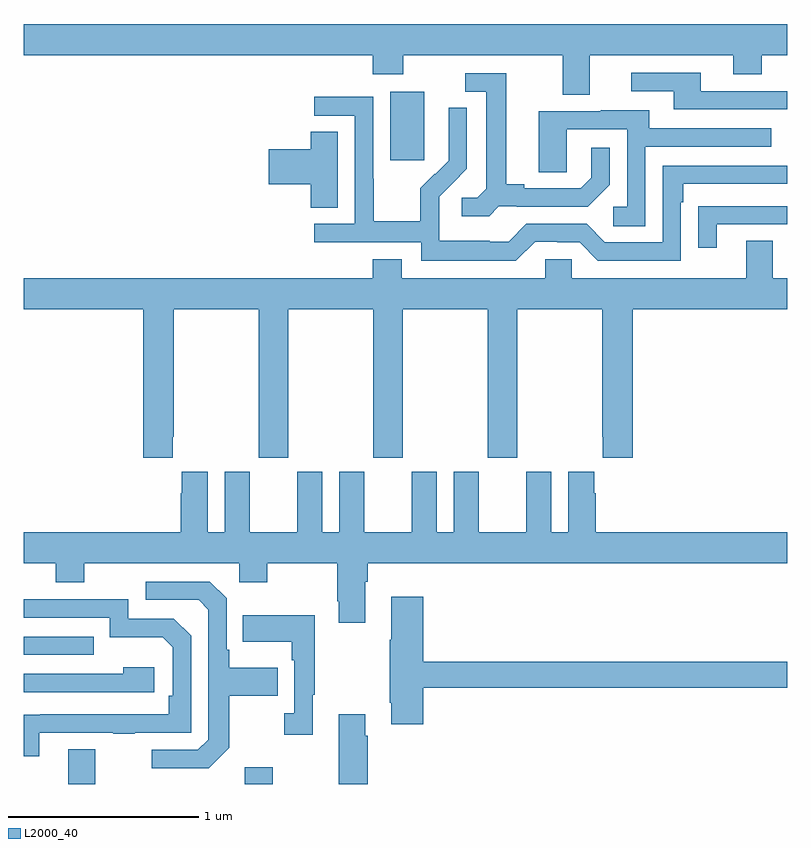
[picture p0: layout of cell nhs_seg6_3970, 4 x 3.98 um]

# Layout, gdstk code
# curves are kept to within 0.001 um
import gdstk
lib = gdstk.Library(unit=1e-6, precision=1e-09)
def R(c, l, rs):  # rectangles x0, y0, x1, y1
    for r in rs: c.add(gdstk.rectangle(r[:2], r[2:], *l))
def P(c, l, *ps):  # polygons
    for p in ps: c.add(gdstk.Polygon(p, *l))
L2000_40 = (2000, 40)

nhs_seg6_3970 = lib.new_cell('nhs_seg6_3970')
R(nhs_seg6_3970, L2000_40, [(345.233,959.5,345.373,959.683), (346.157,959.5,346.305,959.587), (345,960.177,345.365,960.273), (346.919,962.769,347.098,963.13)])
P(nhs_seg6_3970, L2000_40, [(347.965,963.32),(348.719,963.32),(348.719,963.221),(348.867,963.221),(348.867,963.32),(349,963.32),(349,963.484),(345,963.484),(345,963.32),(346.829,963.32),(346.829,963.221),(346.989,963.221),(346.989,963.32),(347.825,963.32),(347.825,963.112),(347.965,963.112)],
  [(349,963.132),(348.547,963.132),(348.547,963.228),(348.183,963.228),(348.183,963.132),(348.407,963.132),(348.407,963.036),(349,963.036)],
  [(347.49,962.529),(347.584,962.529),(347.584,962.526),(347.956,962.526),(348.072,962.642),(348.072,962.836),(347.975,962.836),(347.975,962.679),(347.918,962.622),(347.623,962.622),(347.623,962.645),(347.527,962.645),(347.527,963.225),(347.313,963.225),(347.313,963.129),(347.423,963.129),(347.423,962.621),(347.376,962.574),(347.295,962.574),(347.295,962.477),(347.438,962.477)],
  [(347.679,962.343),(347.795,962.343),(347.795,962.34),(347.913,962.34),(348.009,962.244),(348.444,962.244),(348.444,962.549),(348.457,962.549),(348.457,962.646),(349,962.646),(349,962.742),(348.348,962.742),(348.348,962.34),(348.045,962.34),(347.949,962.436),(347.634,962.436),(347.541,962.343),(347.441,962.343),(347.441,962.347),(347.178,962.347),(347.178,962.481),(347.176,962.481),(347.176,962.578),(347.322,962.726),(347.322,963.044),(347.226,963.044),(347.226,962.89),(347.228,962.89),(347.228,962.768),(347.157,962.697),(347.154,962.7),(347.077,962.623),(347.077,962.449),(346.833,962.449),(346.833,962.672),(346.83,962.672),(346.83,963.102),(346.521,963.102),(346.521,963.003),(346.734,963.003),(346.734,962.436),(346.521,962.436),(346.521,962.34),(347.082,962.34),(347.082,962.243),(347.579,962.243)],
  [(348.258,962.841),(348.917,962.841),(348.917,962.937),(348.277,962.937),(348.277,963.031),(348.023,963.031),(348.023,963.027),(347.699,963.027),(347.699,962.707),(347.844,962.707),(347.844,962.931),(348.162,962.931),(348.162,962.526),(348.09,962.526),(348.09,962.425),(348.258,962.425)],
  [(346.645,962.918),(346.502,962.918),(346.502,962.828),(346.284,962.828),(346.284,962.645),(346.502,962.645),(346.502,962.521),(346.645,962.521)],
  [(348.631,962.433),(349,962.433),(349,962.529),(348.637,962.529),(348.637,962.528),(348.535,962.528),(348.535,962.31),(348.631,962.31)],
  [(345.781,961.321),(345.786,961.321),(345.786,961.988),(346.231,961.988),(346.231,961.209),(346.386,961.209),(346.386,961.988),(346.831,961.988),(346.831,961.209),(346.986,961.209),(346.986,961.988),(347.431,961.988),(347.431,961.209),(347.586,961.209),(347.586,961.988),(348.031,961.988),(348.031,961.321),(348.035,961.321),(348.035,961.209),(348.191,961.209),(348.191,961.988),(349,961.988),(349,962.152),(348.925,962.152),(348.925,962.347),(348.785,962.347),(348.785,962.152),(347.871,962.152),(347.871,962.25),(347.733,962.25),(347.733,962.152),(346.981,962.152),(346.981,962.251),(346.829,962.251),(346.829,962.152),(345,962.152),(345,961.988),(345.626,961.988),(345.626,961.209),(345.781,961.209)],
  [(346.128,960.557),(346.275,960.557),(346.275,960.656),(346.642,960.656),(346.642,960.457),(346.649,960.457),(346.649,960.345),(346.789,960.345),(346.789,960.56),(346.802,960.56),(346.802,960.656),(349,960.656),(349,960.82),(347.996,960.82),(347.996,961.025),(347.989,961.025),(347.989,961.138),(347.852,961.138),(347.852,960.82),(347.764,960.82),(347.764,961.138),(347.633,961.138),(347.633,960.82),(347.383,960.82),(347.383,961.138),(347.252,961.138),(347.252,960.82),(347.164,960.82),(347.164,961.138),(347.033,961.138),(347.033,960.82),(346.783,960.82),(346.783,961.138),(346.652,961.138),(346.652,960.82),(346.564,960.82),(346.564,961.138),(346.433,961.138),(346.433,960.82),(346.183,960.82),(346.183,961.138),(346.052,961.138),(346.052,960.82),(345.964,960.82),(345.964,961.138),(345.827,961.138),(345.827,961.025),(345.821,961.025),(345.821,960.82),(345,960.82),(345,960.656),(345.167,960.656),(345.167,960.557),(345.315,960.557),(345.315,960.656),(346.128,960.656)],
  [(346.075,959.689),(346.075,959.962),(346.331,959.962),(346.331,960.109),(346.075,960.109),(346.075,960.205),(346.062,960.205),(346.062,960.474),(345.975,960.561),(345.639,960.561),(345.639,960.465),(345.915,960.465),(345.966,960.414),(345.966,959.733),(345.912,959.679),(345.669,959.679),(345.669,959.583),(345.969,959.583)],
  [(347.093,960.004),(349,960.004),(349,960.14),(347.093,960.14),(347.093,960.481),(346.925,960.481),(346.925,960.257),(346.918,960.257),(346.918,959.926),(346.925,959.926),(346.925,959.814),(347.093,959.814)],
  [(345.079,959.769),(345.469,959.769),(345.469,959.764),(345.581,959.764),(345.581,959.769),(345.876,959.769),(345.876,960.276),(345.786,960.366),(345.546,960.366),(345.546,960.468),(345,960.468),(345,960.372),(345.45,960.372),(345.45,960.269),(345.727,960.269),(345.78,960.216),(345.78,959.962),(345.76,959.962),(345.76,959.865),(345,959.864),(345,959.646),(345.079,959.646)],
  [(346.513,959.969),(346.525,959.969),(346.525,960.385),(346.147,960.385),(346.147,960.245),(346.404,960.245),(346.404,960.149),(346.416,960.149),(346.416,959.87),(346.365,959.87),(346.365,959.757),(346.513,959.757)],
  [(345.682,960.112),(345.521,960.112),(345.521,960.078),(345,960.078),(345,959.982),(345.682,959.982)],
  [(346.802,959.753),(346.789,959.753),(346.789,959.866),(346.649,959.866),(346.649,959.5),(346.802,959.5)])

lib.write_gds('nhs_seg6_3970.gds')
